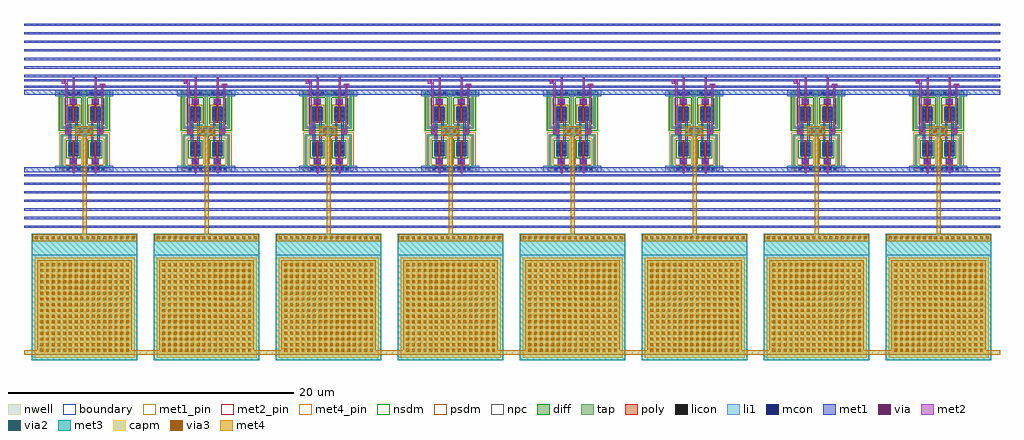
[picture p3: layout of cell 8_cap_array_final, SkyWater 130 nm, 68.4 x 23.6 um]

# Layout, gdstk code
from math import pi, radians
import gdstk
lib = gdstk.Library(unit=1e-6, precision=1e-09)
def R(c, l, rs):  # rectangles x0, y0, x1, y1
    for r in rs: c.add(gdstk.rectangle(r[:2], r[2:], *l))
def A(c, l, x, y, w, h, nx, ny, dx, dy):  # array of equal rectangles
    R(c, l, [(x+i*dx, y+j*dy, x+i*dx+w, y+j*dy+h) for i in range(nx) for j in range(ny)])
nwell = (64, 20)
diff = (65, 20)
tap = (65, 44)
poly = (66, 20)
licon = (66, 44)
li1 = (67, 20)
mcon = (67, 44)
met1_pin = (68, 16)
met1 = (68, 20)
via = (68, 44)
met2_pin = (69, 16)
met2 = (69, 20)
via2 = (69, 44)
met3 = (70, 20)
via3 = (70, 44)
met4_pin = (71, 16)
met4 = (71, 20)
capm = (89, 44)
nsdm = (93, 44)
psdm = (94, 20)
npc = (95, 20)
boundary = (235, 4)

sky130_fd_pr__nfet_01v8_ = lib.new_cell('sky130_fd_pr__nfet_01v8_5WP7M2')
R(sky130_fd_pr__nfet_01v8_, diff, [(-0.365,-0.345,0.365,0.655)])
R(sky130_fd_pr__nfet_01v8_, tap, [(-0.875,-1.215,0.875,-1.045), (-0.875,-1.045,-0.705,1.045), (0.705,-1.045,0.875,1.045), (-0.875,1.045,0.875,1.215)])
R(sky130_fd_pr__nfet_01v8_, poly, [(-0.165,-0.785,0.165,-0.455), (-0.075,-0.455,0.075,0.785)])
A(sky130_fd_pr__nfet_01v8_, licon, -0.305, -0.27, 0.17, 0.17, 1, 3, 0, 0.34)
A(sky130_fd_pr__nfet_01v8_, licon, 0.135, -0.27, 0.17, 0.17, 1, 3, 0, 0.34)
R(sky130_fd_pr__nfet_01v8_, licon, [(-0.255,-1.215,-0.085,-1.045), (0.085,-1.215,0.255,-1.045), (-0.085,-0.705,0.085,-0.535)])
R(sky130_fd_pr__nfet_01v8_, li1, [(-0.475,-1.215,0.475,-1.045), (-0.165,-0.705,0.165,-0.535), (-0.305,-0.365,-0.135,0.675), (0.135,-0.365,0.305,0.675)])
R(sky130_fd_pr__nfet_01v8_, mcon, [(-0.085,-0.705,0.085,-0.535), (-0.305,-0.11,-0.135,0.06), (0.135,-0.11,0.305,0.06), (-0.305,0.25,-0.135,0.42), (0.135,0.25,0.305,0.42)])
R(sky130_fd_pr__nfet_01v8_, met1, [(-0.145,-0.735,0.145,-0.505), (-0.335,-0.345,-0.105,0.655), (0.105,-0.345,0.335,0.655)])
R(sky130_fd_pr__nfet_01v8_, nsdm, [(-0.49,-0.47,0.49,0.78)])
R(sky130_fd_pr__nfet_01v8_, psdm, [(-1,-1.34,1,-0.92), (-1,-0.92,-0.58,0.92), (0.58,-0.92,1,0.92), (-1,0.92,1,1.34)])
R(sky130_fd_pr__nfet_01v8_, npc, [(-0.185,-0.805,0.185,-0.435)])
R(sky130_fd_pr__nfet_01v8_, boundary, [(-0.79,-1.13,0.79,1.13)])

sky130_fd_pr__pfet_01v8_ = lib.new_cell('sky130_fd_pr__pfet_01v8_NKK3FE')
R(sky130_fd_pr__pfet_01v8_, nwell, [(-1.055,-1.42,1.055,1.42)])
R(sky130_fd_pr__pfet_01v8_, diff, [(-0.365,-0.68,0.365,0.32)])
R(sky130_fd_pr__pfet_01v8_, tap, [(-0.875,-1.24,0.875,-1.07), (-0.875,-1.07,-0.705,1.07), (0.705,-1.07,0.875,1.07), (-0.875,1.07,0.875,1.24)])
R(sky130_fd_pr__pfet_01v8_, poly, [(-0.075,-0.81,0.075,0.475), (-0.165,0.475,0.165,0.805)])
A(sky130_fd_pr__pfet_01v8_, licon, -0.305, -0.605, 0.17, 0.17, 1, 3, 0, 0.34)
A(sky130_fd_pr__pfet_01v8_, licon, 0.135, -0.605, 0.17, 0.17, 1, 3, 0, 0.34)
R(sky130_fd_pr__pfet_01v8_, licon, [(-0.085,0.555,0.085,0.725), (-0.255,1.07,-0.085,1.24), (0.085,1.07,0.255,1.24)])
R(sky130_fd_pr__pfet_01v8_, li1, [(-0.305,-0.7,-0.135,0.34), (0.135,-0.7,0.305,0.34), (-0.165,0.555,0.165,0.725), (-0.475,1.07,0.475,1.24)])
R(sky130_fd_pr__pfet_01v8_, mcon, [(-0.305,-0.445,-0.135,-0.275), (0.135,-0.445,0.305,-0.275), (-0.305,-0.085,-0.135,0.085), (0.135,-0.085,0.305,0.085), (-0.085,0.555,0.085,0.725)])
R(sky130_fd_pr__pfet_01v8_, met1, [(-0.335,-0.68,-0.105,0.32), (0.105,-0.68,0.335,0.32), (-0.145,0.525,0.145,0.755)])
R(sky130_fd_pr__pfet_01v8_, nsdm, [(-1,-1.365,1,-0.945), (-1,-0.945,-0.58,0.945), (0.58,-0.945,1,0.945), (-1,0.945,1,1.365)])
R(sky130_fd_pr__pfet_01v8_, psdm, [(-0.49,-0.805,0.49,0.445)])
R(sky130_fd_pr__pfet_01v8_, npc, [(-0.185,0.455,0.185,0.825)])
R(sky130_fd_pr__pfet_01v8_, boundary, [(-0.79,-1.155,0.79,1.155)])

c_sky130_fd_pr__pfet_01v8_ = lib.new_cell('sky130_fd_pr__pfet_01v8_QKK3FL')
R(c_sky130_fd_pr__pfet_01v8_, nwell, [(-1.055,-1.42,1.055,1.42)])
R(c_sky130_fd_pr__pfet_01v8_, diff, [(-0.365,-0.32,0.365,0.68)])
R(c_sky130_fd_pr__pfet_01v8_, tap, [(-0.875,-1.24,0.875,-1.07), (-0.875,-1.07,-0.705,1.07), (0.705,-1.07,0.875,1.07), (-0.875,1.07,0.875,1.24)])
R(c_sky130_fd_pr__pfet_01v8_, poly, [(-0.165,-0.805,0.165,-0.475), (-0.075,-0.475,0.075,0.81)])
A(c_sky130_fd_pr__pfet_01v8_, licon, -0.305, -0.245, 0.17, 0.17, 1, 3, 0, 0.34)
A(c_sky130_fd_pr__pfet_01v8_, licon, 0.135, -0.245, 0.17, 0.17, 1, 3, 0, 0.34)
R(c_sky130_fd_pr__pfet_01v8_, licon, [(-0.255,-1.24,-0.085,-1.07), (0.085,-1.24,0.255,-1.07), (-0.085,-0.725,0.085,-0.555)])
R(c_sky130_fd_pr__pfet_01v8_, li1, [(-0.475,-1.24,0.475,-1.07), (-0.165,-0.725,0.165,-0.555), (-0.305,-0.34,-0.135,0.7), (0.135,-0.34,0.305,0.7)])
R(c_sky130_fd_pr__pfet_01v8_, mcon, [(-0.085,-0.725,0.085,-0.555), (-0.305,-0.085,-0.135,0.085), (0.135,-0.085,0.305,0.085), (-0.305,0.275,-0.135,0.445), (0.135,0.275,0.305,0.445)])
R(c_sky130_fd_pr__pfet_01v8_, met1, [(-0.145,-0.755,0.145,-0.525), (-0.335,-0.32,-0.105,0.68), (0.105,-0.32,0.335,0.68)])
R(c_sky130_fd_pr__pfet_01v8_, nsdm, [(-1,-1.365,1,-0.945), (-1,-0.945,-0.58,0.945), (0.58,-0.945,1,0.945), (-1,0.945,1,1.365)])
R(c_sky130_fd_pr__pfet_01v8_, psdm, [(-0.49,-0.445,0.49,0.805)])
R(c_sky130_fd_pr__pfet_01v8_, npc, [(-0.185,-0.825,0.185,-0.455)])
R(c_sky130_fd_pr__pfet_01v8_, boundary, [(-0.79,-1.155,0.79,1.155)])

c_sky130_fd_pr__nfet_01v8_ = lib.new_cell('sky130_fd_pr__nfet_01v8_5WU4M2')
R(c_sky130_fd_pr__nfet_01v8_, diff, [(-0.365,-0.655,0.365,0.345)])
R(c_sky130_fd_pr__nfet_01v8_, tap, [(-0.875,-1.215,0.875,-1.045), (-0.875,-1.045,-0.705,1.045), (0.705,-1.045,0.875,1.045), (-0.875,1.045,0.875,1.215)])
R(c_sky130_fd_pr__nfet_01v8_, poly, [(-0.075,-0.785,0.075,0.455), (-0.165,0.455,0.165,0.785)])
A(c_sky130_fd_pr__nfet_01v8_, licon, -0.305, -0.58, 0.17, 0.17, 1, 3, 0, 0.34)
A(c_sky130_fd_pr__nfet_01v8_, licon, 0.135, -0.58, 0.17, 0.17, 1, 3, 0, 0.34)
R(c_sky130_fd_pr__nfet_01v8_, licon, [(-0.085,0.535,0.085,0.705), (-0.255,1.045,-0.085,1.215), (0.085,1.045,0.255,1.215)])
R(c_sky130_fd_pr__nfet_01v8_, li1, [(-0.305,-0.675,-0.135,0.365), (0.135,-0.675,0.305,0.365), (-0.165,0.535,0.165,0.705), (-0.475,1.045,0.475,1.215)])
R(c_sky130_fd_pr__nfet_01v8_, mcon, [(-0.305,-0.42,-0.135,-0.25), (0.135,-0.42,0.305,-0.25), (-0.305,-0.06,-0.135,0.11), (0.135,-0.06,0.305,0.11), (-0.085,0.535,0.085,0.705)])
R(c_sky130_fd_pr__nfet_01v8_, met1, [(-0.335,-0.655,-0.105,0.345), (0.105,-0.655,0.335,0.345), (-0.145,0.505,0.145,0.735)])
R(c_sky130_fd_pr__nfet_01v8_, nsdm, [(-0.49,-0.78,0.49,0.47)])
R(c_sky130_fd_pr__nfet_01v8_, psdm, [(-1,-1.34,1,-0.92), (-1,-0.92,-0.58,0.92), (0.58,-0.92,1,0.92), (-1,0.92,1,1.34)])
R(c_sky130_fd_pr__nfet_01v8_, npc, [(-0.185,0.435,0.185,0.805)])
R(c_sky130_fd_pr__nfet_01v8_, boundary, [(-0.79,-1.13,0.79,1.13)])

sky130_fd_pr__cap_mim_m3 = lib.new_cell('sky130_fd_pr__cap_mim_m3_1_BZXSER')
R(sky130_fd_pr__cap_mim_m3, met3, [(-4.43,-3.7,4.43,3.7)])
A(sky130_fd_pr__cap_mim_m3, via3, 4.07, -3.5, 0.2, 0.2, 1, 18, 0, 0.4)
A(sky130_fd_pr__cap_mim_m3, via3, -3.83, -3.1, 0.2, 0.2, 16, 16, 0.4, 0.4)
R(sky130_fd_pr__cap_mim_m3, met4, [(3.93,-3.64,4.41,3.64), (-4.035,-3.305,2.575,3.305)])
R(sky130_fd_pr__cap_mim_m3, capm, [(-4.23,-3.5,2.77,3.5)])
R(sky130_fd_pr__cap_mim_m3, boundary, [(-4.43,-3.7,2.97,3.7)])

cap_final = lib.new_cell('cap_final')
R(cap_final, li1, [(3.55,-4.75,7.6,-4.3), (3.55,0.55,7.6,1)])
A(cap_final, mcon, 4.355, -4.635, 0.17, 0.17, 3, 2, 0.36, 5.35)
A(cap_final, mcon, 5.725, -4.635, 0.17, 0.17, 4, 1, 0.36, 0)
A(cap_final, mcon, 5.955, 0.715, 0.17, 0.17, 3, 1, 0.36, 0)
R(cap_final, met1_pin, [(3.85,-4.7,4.15,-4.4), (5.4,-4.7,5.7,-4.4), (4.31,-2.04,4.61,-1.74), (6.56,-2.04,6.86,-1.74), (4.64,0.04,4.94,0.34), (6.17,0.06,6.47,0.36), (3.85,0.65,4.15,0.95), (5.5,0.65,5.75,0.95)])
R(cap_final, met1, [(1.35,-5.05,5.5,-4.9), (5.65,-5.05,9.9,-4.9), (1.35,-4.75,9.9,-4.4), (4.55,-4.2,5.05,-3.8), (6.1,-4.2,6.6,-3.8), (4.5,-2.7,4.65,-2.1), (4.95,-2.7,5.1,-2.1), (6.05,-2.7,6.2,-2.1), (6.5,-2.7,6.65,-2.1), (4.25,-2.1,4.65,-1.7), (4.95,-2.1,6.2,-1.7), (6.5,-2.1,6.9,-1.7), (4.5,-1.7,4.65,-1.1), (4.95,-1.7,5.1,-1.1), (6.05,-1.7,6.2,-1.1), (6.5,-1.7,6.65,-1.1), (4.55,0,5.05,0.4), (6.1,0,6.6,0.4), (1.35,0.65,9.9,1), (1.35,1.15,9.9,1.3), (6.65,1.3,7.05,1.45), (4,1.45,4.4,1.6), (1.35,1.6,9.9,1.75), (1.35,1.9,9.9,2.05)])
R(cap_final, via, [(4.725,-4.075,4.875,-3.925), (6.275,-4.075,6.425,-3.925), (4.375,-1.975,4.525,-1.825), (5.225,-1.975,5.375,-1.825), (5.775,-1.975,5.925,-1.825), (6.625,-1.975,6.775,-1.825), (4.725,0.125,4.875,0.275), (6.275,0.125,6.425,0.275), (6.775,1.225,6.925,1.375), (4.125,1.525,4.275,1.675)])
R(cap_final, met2_pin, [(4.65,-4.15,4.95,-3.85), (6.2,-4.15,6.5,-3.85)])
R(cap_final, met2, [(4.75,-4.85,4.9,-4.2), (6.3,-4.85,6.45,-4.2), (4.6,-4.2,5,-3.8), (6.15,-4.2,6.55,-3.8), (5.05,-2.15,6.1,-1.65), (4.25,-2.1,4.65,-1.7), (6.5,-2.1,6.9,-1.7), (4.25,-1.7,4.4,1.45), (6.75,-1.7,6.9,1.15), (4.6,0,5,0.4), (6.15,0,6.55,0.4), (4.75,0.4,4.9,1.85), (6.3,0.4,6.45,1.85), (6.65,1.15,7.05,1.45), (4,1.45,4.4,1.75)])
R(cap_final, via2, [(5.225,-1.975,5.425,-1.775), (5.775,-1.975,5.975,-1.775)])
R(cap_final, met3, [(4.95,-2.25,6.2,-1.55)])
R(cap_final, via3, [(5.225,-2,5.425,-1.8), (5.775,-2,5.975,-1.8)])
R(cap_final, met4_pin, [(2.45,-17.35,2.75,-17.05)])
R(cap_final, met4, [(2.4,-17.4,2.75,-17.05), (5.45,-9.5,5.75,-2.25), (4.95,-2.25,6.2,-1.55)])
cap_final.add(gdstk.Reference(sky130_fd_pr__nfet_01v8_, (4.805,-3.305)))
cap_final.add(gdstk.Reference(sky130_fd_pr__pfet_01v8_, (4.805,-0.48)))
cap_final.add(gdstk.Reference(c_sky130_fd_pr__pfet_01v8_, (6.355,-0.48), rotation=pi))
cap_final.add(gdstk.Reference(c_sky130_fd_pr__nfet_01v8_, (6.355,-3.305), rotation=pi))
cap_final.add(gdstk.Reference(sky130_fd_pr__cap_mim_m3, (5.6,-13.52), rotation=pi/2, x_reflection=True))
cap_final.add(gdstk.Label('com_x', (2.6,-17.2), layer=71, texttype=5))
cap_final.add(gdstk.Label('sub', (5.55,-4.55), layer=68, texttype=5))
cap_final.add(gdstk.Label('phi1', (4.8,-4), layer=69, texttype=5))
cap_final.add(gdstk.Label('Vdd', (4,0.8), layer=68, texttype=5))
cap_final.add(gdstk.Label('phi1_n', (4.79,0.19), layer=68, texttype=5))
cap_final.add(gdstk.Label('Vin', (4.46,-1.89), layer=68, texttype=5))
cap_final.add(gdstk.Label('sub', (4,-4.55), layer=68, texttype=5))
cap_final.add(gdstk.Label('Vdd', (5.625,0.8), layer=68, texttype=5))
cap_final.add(gdstk.Label('phi2', (6.35,-4), layer=69, texttype=5))
cap_final.add(gdstk.Label('GND', (6.71,-1.89), layer=68, texttype=5))
cap_final.add(gdstk.Label('phi2_n', (6.32,0.21), layer=68, texttype=5))

c_8_cap_array_final = lib.new_cell('8_cap_array_final')
A(c_8_cap_array_final, met1, -0.65, 8.15, 68.4, 0.15, 1, 6, 0, 0.6)
A(c_8_cap_array_final, met1, -0.65, 19.3, 68.4, 0.15, 1, 6, 0, 0.6)
R(c_8_cap_array_final, met1, [(-0.05,11.75,7.05,11.9), (8.75,11.75,14.85,11.9), (18.5,11.75,23.9,11.9), (26.95,11.75,32.35,11.9), (35.4,11.75,41.05,11.9), (44.1,11.75,49.65,11.9), (52.7,11.75,58.35,11.9), (61.4,11.75,66.15,11.9), (-0.05,12.05,7.05,12.4), (8.75,12.05,14.85,12.4), (18.5,12.05,23.9,12.4), (26.95,12.05,32.35,12.4), (35.4,12.05,41.05,12.4), (44.1,12.05,49.65,12.4), (52.7,12.05,58.35,12.4), (61.4,12.05,66.15,12.4), (-0.05,17.45,7.05,17.8), (8.75,17.45,14.85,17.8), (18.5,17.45,23.9,17.8), (26.95,17.45,32.35,17.8), (35.4,17.45,41.05,17.8), (44.1,17.45,49.65,17.8), (52.7,17.45,58.35,17.8), (61.4,17.45,66.15,17.8), (-0.05,17.95,7.05,18.1), (8.75,17.95,14.85,18.1), (18.5,17.95,23.9,18.1), (26.95,17.95,32.35,18.1), (35.4,17.95,41.05,18.1), (44.1,17.95,49.65,18.1), (52.7,17.95,58.35,18.1), (61.4,17.95,66.15,18.1), (-0.05,18.4,7.05,18.55), (8.75,18.4,14.85,18.55), (18.5,18.4,23.9,18.55), (26.95,18.4,32.35,18.55), (35.4,18.4,41.05,18.55), (44.1,18.4,49.65,18.55), (52.7,18.4,58.35,18.55), (61.4,18.4,66.15,18.55), (-0.05,18.7,7.05,18.85), (8.75,18.7,14.85,18.85), (18.5,18.7,23.9,18.85), (26.95,18.7,32.35,18.85), (35.4,18.7,41.05,18.85), (44.1,18.7,49.65,18.85), (52.7,18.7,58.35,18.85), (61.4,18.7,66.15,18.85)])
R(c_8_cap_array_final, met4, [(-0.65,-0.75,67.75,-0.45)])
c_8_cap_array_final.add(gdstk.Reference(cap_final, (49.3,16.8)))
c_8_cap_array_final.add(gdstk.Reference(cap_final, (40.75,16.8)))
c_8_cap_array_final.add(gdstk.Reference(cap_final, (32.2,16.8)))
c_8_cap_array_final.add(gdstk.Reference(cap_final, (23.65,16.8)))
c_8_cap_array_final.add(gdstk.Reference(cap_final, (15.1,16.8)))
c_8_cap_array_final.add(gdstk.Reference(cap_final, (6.55,16.8)))
c_8_cap_array_final.add(gdstk.Reference(cap_final, (57.85,16.8)))
c_8_cap_array_final.add(gdstk.Reference(cap_final, (-2,16.8)))

lib.write_gds('8_cap_array_final.gds')
